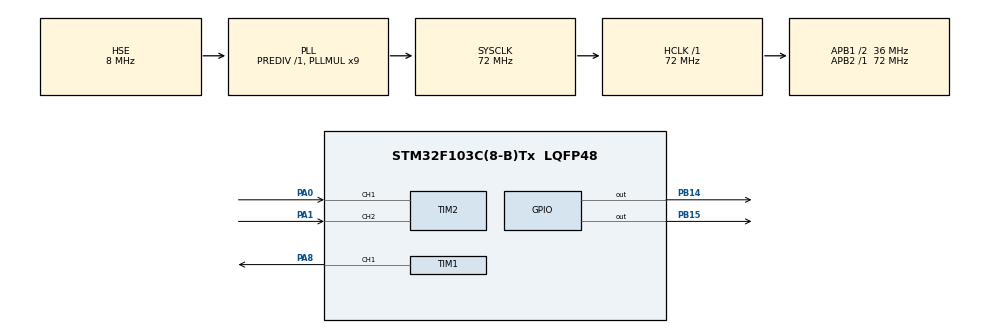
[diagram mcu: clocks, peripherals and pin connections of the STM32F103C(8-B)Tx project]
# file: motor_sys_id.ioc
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Mcu.Family=STM32F1
Mcu.Name=STM32F103C(8-B)Tx
Mcu.Package=LQFP48
NVIC.PriorityGroup=NVIC_PRIORITYGROUP_4
NVIC.TIM2_IRQn=true\:0\:0\:false\:false\:true\:true\:true\:true
NVIC.TIM3_IRQn=true\:0\:0\:false\:false\:true\:true\:true\:true
PA0-WKUP.Signal=S_TIM2_CH1_ETR
PA1.Signal=S_TIM2_CH2
PA13.Mode=Trace_Asynchronous_SW
PA13.Signal=SYS_JTMS-SWDIO
PA14.Mode=Trace_Asynchronous_SW
PA14.Signal=SYS_JTCK-SWCLK
PA8.Signal=S_TIM1_CH1
PB14.Signal=GPIO_Output
PB15.Signal=GPIO_Output
PB3.Mode=Trace_Asynchronous_SW
PB3.Signal=SYS_JTDO-TRACESWO
PD0-OSC_IN.Mode=HSE-External-Oscillator
PD0-OSC_IN.Signal=RCC_OSC_IN
PD1-OSC_OUT.Mode=HSE-External-Oscillator
PD1-OSC_OUT.Signal=RCC_OSC_OUT
ProjectManager.HeapSize=0x200
ProjectManager.StackSize=0x400
ProjectManager.TargetToolchain=STM32CubeIDE
RCC.AHBFreq_Value=72000000
RCC.APB1CLKDivider=RCC_HCLK_DIV2
RCC.APB1Freq_Value=36000000
RCC.APB1TimFreq_Value=72000000
RCC.APB2Freq_Value=72000000
RCC.APB2TimFreq_Value=72000000
RCC.HCLKFreq_Value=72000000
RCC.PLLMUL=RCC_PLL_MUL9
RCC.PLLSourceVirtual=RCC_PLLSOURCE_HSE
RCC.SYSCLKFreq_VALUE=72000000
RCC.SYSCLKSource=RCC_SYSCLKSOURCE_PLLCLK
RCC.USBFreq_Value=72000000
SH.S_TIM1_CH1.0=TIM1_CH1,PWM Generation1 CH1
SH.S_TIM2_CH1_ETR.0=TIM2_CH1,Encoder_Interface
SH.S_TIM2_CH2.0=TIM2_CH2,Encoder_Interface
TIM1.Channel-PWM\ Generation1\ CH1=TIM_CHANNEL_1
TIM1.Period=1800-1
TIM1.Prescaler=40-1
TIM2.EncoderMode=TIM_ENCODERMODE_TI12
TIM3.Period=12000-1
TIM3.Prescaler=6-1
VP_TIM3_VS_ClockSourceINT.Mode=Internal
board=custom

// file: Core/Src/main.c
/* USER CODE BEGIN Header */
/**
  ******************************************************************************
  * @file           : main.c
  * @brief          : Main program body
  ******************************************************************************
  * @attention
  *
  * <h2><center>&copy; Copyright (c) 2022 STMicroelectronics.
  * All rights reserved.</center></h2>
  *
  * This software component is licensed by ST under BSD 3-Clause license,
  * the "License"; You may not use this file except in compliance with the
  * License. You may obtain a copy of the License at:
  *                        opensource.org/licenses/BSD-3-Clause
  *
  ******************************************************************************
  */
/* USER CODE END Header */
#include "main.h"

/* USER CODE BEGIN Includes */
# include "motor.h"
# include "logging.h"
/* USER CODE END Includes */

TIM_HandleTypeDef htim1;
TIM_HandleTypeDef htim2;
TIM_HandleTypeDef htim3;

void SystemClock_Config(void);
static void MX_GPIO_Init(void);
static void MX_TIM2_Init(void);
static void MX_TIM3_Init(void);
static void MX_TIM1_Init(void);

/* USER CODE BEGIN 0 */
motor motor_1;
Logger logger;
extern int _write(int file, char *ptr, int len);

int tim_cnt = 0;
float sec = 0;
float duty = 1.0;
float max_voltage = 12.24;
float output_duty = 0;
int sample_idx = 0;

void HAL_TIM_PeriodElapsedCallback(TIM_HandleTypeDef *htim){
	if (htim == &htim3){
		motor_encoder_update(&motor_1);
		tim_cnt ++;
		sec = (float)tim_cnt/1000;

		if (tim_cnt == 0){
			printf("timestamp, output_voltage, angular_velocity \n");
		}

		if (tim_cnt % 10 == 0){
			if (logger.finished_logging == 0){
				output_duty = get_logger_input(&logger);
				motor_duty_output(&motor_1, output_duty, 1);
//				log_motor_state(&motor_1, sec);
			}
			else{
				motor_duty_output(&motor_1, 0, 1);
			}
		}

	}
}
/* USER CODE END 0 */

int main(void)
{

  /* MCU Configuration--------------------------------------------------------*/

  /* Reset of all peripherals, Initializes the Flash interface and the Systick. */
  HAL_Init();

  /* Configure the system clock */
  SystemClock_Config();

  /* Initialize all configured peripherals */
  MX_GPIO_Init();
  MX_TIM2_Init();
  MX_TIM3_Init();
  MX_TIM1_Init();
  /* USER CODE BEGIN 2 */
  motor_hardware_setup(&motor_1);
  motor_driver_initialize(&motor_1);
  logger_setup(&logger);
  HAL_TIM_Base_Start_IT(&htim3);

  /* USER CODE END 2 */

  /* Infinite loop */
  while (1)
  {

    /* USER CODE BEGIN 3 */
//	  motor_duty_output(&motor_1, duty, 1);
  }
  /* USER CODE END 3 */
}

void SystemClock_Config(void)
{
  RCC_OscInitTypeDef RCC_OscInitStruct = {0};
  RCC_ClkInitTypeDef RCC_ClkInitStruct = {0};

  /** Initializes the RCC Oscillators according to the specified parameters
  * in the RCC_OscInitTypeDef structure.
  */
  RCC_OscInitStruct.OscillatorType = RCC_OSCILLATORTYPE_HSE;
  RCC_OscInitStruct.HSEState = RCC_HSE_ON;
  RCC_OscInitStruct.HSEPredivValue = RCC_HSE_PREDIV_DIV1;
  RCC_OscInitStruct.HSIState = RCC_HSI_ON;
  RCC_OscInitStruct.PLL.PLLState = RCC_PLL_ON;
  RCC_OscInitStruct.PLL.PLLSource = RCC_PLLSOURCE_HSE;
  RCC_OscInitStruct.PLL.PLLMUL = RCC_PLL_MUL9;
  if (HAL_RCC_OscConfig(&RCC_OscInitStruct) != HAL_OK)
  {
    Error_Handler();
  }

  /** Initializes the CPU, AHB and APB buses clocks
  */
  RCC_ClkInitStruct.ClockType = RCC_CLOCKTYPE_HCLK|RCC_CLOCKTYPE_SYSCLK
                              |RCC_CLOCKTYPE_PCLK1|RCC_CLOCKTYPE_PCLK2;
  RCC_ClkInitStruct.SYSCLKSource = RCC_SYSCLKSOURCE_PLLCLK;
  RCC_ClkInitStruct.AHBCLKDivider = RCC_SYSCLK_DIV1;
  RCC_ClkInitStruct.APB1CLKDivider = RCC_HCLK_DIV2;
  RCC_ClkInitStruct.APB2CLKDivider = RCC_HCLK_DIV1;

  if (HAL_RCC_ClockConfig(&RCC_ClkInitStruct, FLASH_LATENCY_2) != HAL_OK)
  {
    Error_Handler();
  }
}

static void MX_TIM1_Init(void)
{

  TIM_MasterConfigTypeDef sMasterConfig = {0};
  TIM_OC_InitTypeDef sConfigOC = {0};
  TIM_BreakDeadTimeConfigTypeDef sBreakDeadTimeConfig = {0};

  htim1.Instance = TIM1;
  htim1.Init.Prescaler = 40-1;
  htim1.Init.CounterMode = TIM_COUNTERMODE_UP;
  htim1.Init.Period = 1800-1;
  htim1.Init.ClockDivision = TIM_CLOCKDIVISION_DIV1;
  htim1.Init.RepetitionCounter = 0;
  htim1.Init.AutoReloadPreload = TIM_AUTORELOAD_PRELOAD_DISABLE;
  if (HAL_TIM_PWM_Init(&htim1) != HAL_OK)
  {
    Error_Handler();
  }
  sMasterConfig.MasterOutputTrigger = TIM_TRGO_RESET;
  sMasterConfig.MasterSlaveMode = TIM_MASTERSLAVEMODE_DISABLE;
  if (HAL_TIMEx_MasterConfigSynchronization(&htim1, &sMasterConfig) != HAL_OK)
  {
    Error_Handler();
  }
  sConfigOC.OCMode = TIM_OCMODE_PWM1;
  sConfigOC.Pulse = 0;
  sConfigOC.OCPolarity = TIM_OCPOLARITY_HIGH;
  sConfigOC.OCNPolarity = TIM_OCNPOLARITY_HIGH;
  sConfigOC.OCFastMode = TIM_OCFAST_DISABLE;
  sConfigOC.OCIdleState = TIM_OCIDLESTATE_RESET;
  sConfigOC.OCNIdleState = TIM_OCNIDLESTATE_RESET;
  if (HAL_TIM_PWM_ConfigChannel(&htim1, &sConfigOC, TIM_CHANNEL_1) != HAL_OK)
  {
    Error_Handler();
  }
  sBreakDeadTimeConfig.OffStateRunMode = TIM_OSSR_DISABLE;
  sBreakDeadTimeConfig.OffStateIDLEMode = TIM_OSSI_DISABLE;
  sBreakDeadTimeConfig.LockLevel = TIM_LOCKLEVEL_OFF;
  sBreakDeadTimeConfig.DeadTime = 0;
  sBreakDeadTimeConfig.BreakState = TIM_BREAK_DISABLE;
  sBreakDeadTimeConfig.BreakPolarity = TIM_BREAKPOLARITY_HIGH;
  sBreakDeadTimeConfig.AutomaticOutput = TIM_AUTOMATICOUTPUT_DISABLE;
  if (HAL_TIMEx_ConfigBreakDeadTime(&htim1, &sBreakDeadTimeConfig) != HAL_OK)
  {
    Error_Handler();
  }
  HAL_TIM_MspPostInit(&htim1);

}

static void MX_TIM2_Init(void)
{

  TIM_Encoder_InitTypeDef sConfig = {0};
  TIM_MasterConfigTypeDef sMasterConfig = {0};

  htim2.Instance = TIM2;
  htim2.Init.Prescaler = 0;
  htim2.Init.CounterMode = TIM_COUNTERMODE_UP;
  htim2.Init.Period = 65535;
  htim2.Init.ClockDivision = TIM_CLOCKDIVISION_DIV1;
  htim2.Init.AutoReloadPreload = TIM_AUTORELOAD_PRELOAD_DISABLE;
  sConfig.EncoderMode = TIM_ENCODERMODE_TI12;
  sConfig.IC1Polarity = TIM_ICPOLARITY_RISING;
  sConfig.IC1Selection = TIM_ICSELECTION_DIRECTTI;
  sConfig.IC1Prescaler = TIM_ICPSC_DIV1;
  sConfig.IC1Filter = 0;
  sConfig.IC2Polarity = TIM_ICPOLARITY_RISING;
  sConfig.IC2Selection = TIM_ICSELECTION_DIRECTTI;
  sConfig.IC2Prescaler = TIM_ICPSC_DIV1;
  sConfig.IC2Filter = 0;
  if (HAL_TIM_Encoder_Init(&htim2, &sConfig) != HAL_OK)
  {
    Error_Handler();
  }
  sMasterConfig.MasterOutputTrigger = TIM_TRGO_RESET;
  sMasterConfig.MasterSlaveMode = TIM_MASTERSLAVEMODE_DISABLE;
  if (HAL_TIMEx_MasterConfigSynchronization(&htim2, &sMasterConfig) != HAL_OK)
  {
    Error_Handler();
  }

}

static void MX_TIM3_Init(void)
{

  TIM_ClockConfigTypeDef sClockSourceConfig = {0};
  TIM_MasterConfigTypeDef sMasterConfig = {0};

  htim3.Instance = TIM3;
  htim3.Init.Prescaler = 6-1;
  htim3.Init.CounterMode = TIM_COUNTERMODE_UP;
  htim3.Init.Period = 12000-1;
  htim3.Init.ClockDivision = TIM_CLOCKDIVISION_DIV1;
  htim3.Init.AutoReloadPreload = TIM_AUTORELOAD_PRELOAD_DISABLE;
  if (HAL_TIM_Base_Init(&htim3) != HAL_OK)
  {
    Error_Handler();
  }
  sClockSourceConfig.ClockSource = TIM_CLOCKSOURCE_INTERNAL;
  if (HAL_TIM_ConfigClockSource(&htim3, &sClockSourceConfig) != HAL_OK)
  {
    Error_Handler();
  }
  sMasterConfig.MasterOutputTrigger = TIM_TRGO_RESET;
  sMasterConfig.MasterSlaveMode = TIM_MASTERSLAVEMODE_DISABLE;
  if (HAL_TIMEx_MasterConfigSynchronization(&htim3, &sMasterConfig) != HAL_OK)
  {
    Error_Handler();
  }

}

static void MX_GPIO_Init(void)
{
  GPIO_InitTypeDef GPIO_InitStruct = {0};

  /* GPIO Ports Clock Enable */
  __HAL_RCC_GPIOD_CLK_ENABLE();
  __HAL_RCC_GPIOA_CLK_ENABLE();
  __HAL_RCC_GPIOB_CLK_ENABLE();

  /*Configure GPIO pin Output Level */
  HAL_GPIO_WritePin(GPIOB, GPIO_PIN_14|GPIO_PIN_15, GPIO_PIN_RESET);

  /*Configure GPIO pins : PB14 PB15 */
  GPIO_InitStruct.Pin = GPIO_PIN_14|GPIO_PIN_15;
  GPIO_InitStruct.Mode = GPIO_MODE_OUTPUT_PP;
  GPIO_InitStruct.Pull = GPIO_NOPULL;
  GPIO_InitStruct.Speed = GPIO_SPEED_FREQ_LOW;
  HAL_GPIO_Init(GPIOB, &GPIO_InitStruct);

}

void Error_Handler(void)
{
  __disable_irq();
  while (1)
  {
  }
}
